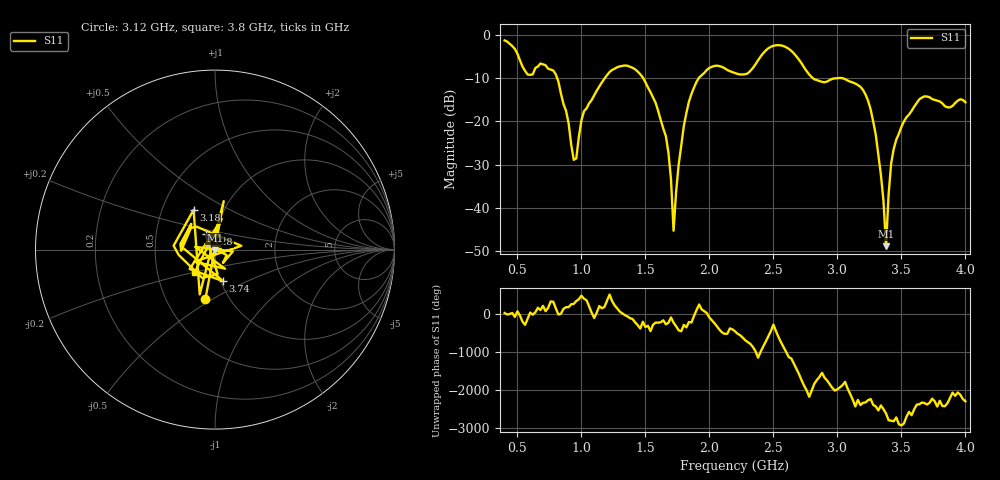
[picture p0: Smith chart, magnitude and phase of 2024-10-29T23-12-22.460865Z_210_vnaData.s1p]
!Created with skrf (http://scikit-rf.org).
# Hz S RI R 50.0
!freq ReS11 ImS11
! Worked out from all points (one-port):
!   181 points, 400 MHz to 4 GHz, reference 50 ohm
!   lowest |S11| = -48.9 dB at 3.38 GHz (marker M1), VSWR 1.01, Z = 49.9 - j0.35 ohm
!   |S11| at or under -10 dB: 810.9 MHz to 1.183 GHz (371.8 MHz wide, 37.3 % of centre); 1.483 GHz to 1.916 GHz (433.4 MHz wide, 25.5 % of centre); 3.041 GHz to end of sweep (the widest 3 of 4)
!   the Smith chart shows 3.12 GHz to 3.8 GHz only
!   S11 on the Smith chart (normalised r, x): 3.12 GHz: 0.77, -0.47; 3.18 GHz: 0.72, +0.34; 3.28 GHz: 0.89, +0.15; 3.74 GHz: 1.03, -0.37; 3.8 GHz: 0.77, -0.20
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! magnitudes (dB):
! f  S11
! 400 MHz  -1.3
! 580 MHz  -9.1
! 780 MHz  -8.2
! 860 MHz  -16.0
! 960 MHz  -28.5
! 1.02 GHz  -17.6
! 1.3 GHz  -7.3
! 1.58 GHz  -15.7
! 1.68 GHz  -27.2
! 1.72 GHz  -45.3
! 1.76 GHz  -29.9
! 1.82 GHz  -18.1
! 1.9 GHz  -10.8
! 2.2 GHz  -8.8
! 2.5 GHz  -2.5
! 2.66 GHz  -4.2
! 2.82 GHz  -10.2
! 3.1 GHz  -10.8
! 3.12 GHz  -11.0
! 3.18 GHz  -12.0
! 3.28 GHz  -20.1
! 3.34 GHz  -32.4
! 3.38 GHz  -48.9
! 3.42 GHz  -29.7
! 3.56 GHz  -18.4
! 3.74 GHz  -14.8
! 3.8 GHz  -15.4
! 4 GHz  -15.6
